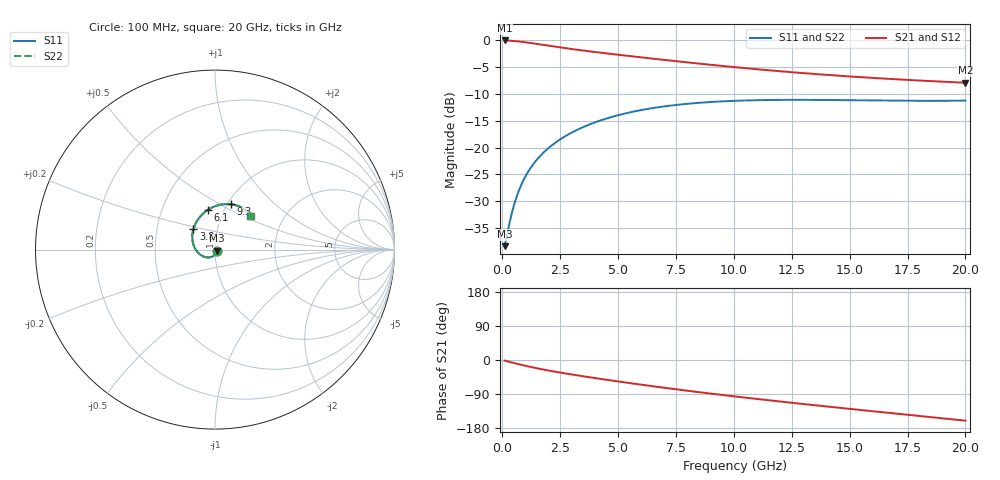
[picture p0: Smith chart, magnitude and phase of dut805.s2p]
! Touchstone file exported from HFSS 2024.1.0
!  File:  C:/UserFiles/LocalFiles/RDL_TSV_Batchsim/temp_RDL_TSV_805_1779911385.aedt
!  Generated:  04:05:17 AM May 28, 2026
!  Design:  RDL_TSV
!  Project:  temp_RDL_TSV_805_1779911385
!  Setup:  Setup1
!  Solution:  Sweep
! Variables:
!  dtsv = 14.17um
!  hbump = 3um
!  htsv = 86.69um
!  ldown = 234.14um
!  lrdl = 277.79um
!  p = 40
!  p1 = 47.38um
!  rhole = 10um
!  subl = 1813.58um
!  t = 450um
!  tdown = 2.91um
!  trdl = 4.02um
!  viad = 10um
!  wdown = 17.18um
!  wrdl = 17.98um
!  xbump = 18um
# GHz S MA R 50.000000
! Terminal data exported
! Port[1] = TM1_1_T1
! Port[2] = TM1_4_T1
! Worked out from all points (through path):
!   200 points, 100 MHz to 20 GHz, reference 50 ohm
!   highest |S21| = -0.10 dB at 100 MHz (marker M1); lowest = -8.0 dB at 20 GHz (marker M2)
!   group delay of S21, straight-line fit = 20.8 ps
!   lowest |S11| = -38.3 dB at 100 MHz (marker M3), VSWR 1.02, Z = 51.1 - j0.616 ohm
!   |S11| at or under -10 dB: start of sweep to end of sweep
!   |S22| runs from -38.3 to -11.1 dB; largest |S21 - S12| = 9.2e-15
!   S11 on the Smith chart (normalised r, x): 100 MHz: 1.02, -0.01; 3.8 GHz: 0.77, +0.18; 6.1 GHz: 0.84, +0.39; 9.3 GHz: 1.04, +0.56; 20 GHz: 1.36, +0.56
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0.1  0.01213 -29.8  0.9885 -1.6  0.9885 -1.6  0.01213 -29.8
! Gamma 0 0 0 0
! Port Impedance 50 0 50 0
0.4  0.02407 -81.0  0.9812 -6.4  0.9812 -6.4  0.02407 -81.0
0.6  0.034 -99.6  0.9729 -9.5  0.9729 -9.5  0.034 -99.6
0.7  0.03904 -107.1  0.968 -11.0  0.968 -11.0  0.03904 -107.1
0.9  0.04905 -120.4  0.9569 -13.9  0.9569 -13.9  0.04906 -120.4
1.2  0.06362 -137.3  0.9378 -18.1  0.9378 -18.1  0.06364 -137.3
1.6  0.08201 -156.3  0.9104 -23.1  0.9104 -23.1  0.08204 -156.3
2.1  0.1033 -176.1  0.8765 -28.9  0.8765 -28.9  0.1034 -176.2
2.7  0.1269 164.3  0.8393 -35.2  0.8393 -35.2  0.127 164.3
3.5  0.1552 143.6  0.7961 -43.0  0.7961 -43.0  0.1554 143.5
3.8  0.165 137.0  0.7814 -45.8  0.7814 -45.8  0.1652 136.9
4.9  0.1971 116.8  0.7323 -55.7  0.7323 -55.7  0.1974 116.8
6.1  0.2251 100.1  0.6845 -66.0  0.6845 -66.0  0.2255 100.0
6.8  0.2381 92.0  0.6588 -71.7  0.6588 -71.7  0.2385 92.0
8  0.2552 80.6  0.618 -81.1  0.618 -81.1  0.2557 80.6
9.3  0.2673 70.8  0.5785 -90.8  0.5785 -90.8  0.2679 70.8
10.1  0.2721 65.8  0.5566 -96.6  0.5566 -96.6  0.2727 65.8
11.7  0.2769 57.8  0.5181 -107.6  0.5181 -107.6  0.2776 57.8
13.4  0.2772 51.7  0.4841 -118.8  0.4841 -118.8  0.278 51.6
15  0.2753 47.7  0.4577 -129.0  0.4577 -129.0  0.2761 47.7
16.7  0.2729 45.2  0.4346 -139.6  0.4346 -139.6  0.2736 45.1
20  0.273 43.7  0.4001 -160.0  0.4001 -160.0  0.2738 43.6
